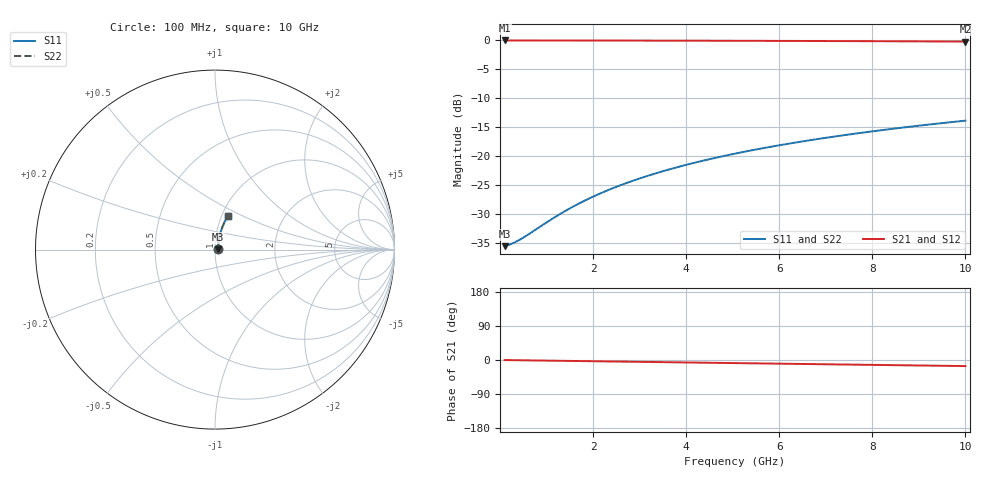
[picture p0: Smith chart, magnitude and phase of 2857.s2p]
# Hz S RI R 50.00
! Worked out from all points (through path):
!   100 points, 100 MHz to 10 GHz, reference 50 ohm
!   highest |S21| = -0.14 dB at 100 MHz (marker M1); lowest = -0.3 dB at 10 GHz (marker M2)
!   group delay of S21, straight-line fit = 4.45 ps
!   lowest |S11| = -35.6 dB at 100 MHz (marker M3), VSWR 1.03, Z = 51.7 + j0.207 ohm
!   |S11| at or under -10 dB: start of sweep to end of sweep
!   |S22| runs from -35.6 to -14.0 dB; largest |S21 - S12| = 0
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1e8  0.0165 0.002  0.9835 -0.00278  0.9835 -0.00278  0.0165 0.002
2e8  0.0167 0.00401  0.9833 -0.00557  0.9833 -0.00557  0.0167 0.00401
3e8  0.0168 0.00601  0.9832 -0.00835  0.9832 -0.00835  0.0168 0.00601
4e8  0.0169 0.00801  0.9831 -0.0111  0.9831 -0.0111  0.0169 0.00801
6e8  0.0171 0.012  0.9829 -0.0167  0.9829 -0.0167  0.0171 0.012
1e9  0.0176 0.02  0.9824 -0.0278  0.9824 -0.0278  0.0176 0.02
1.3e9  0.0181 0.026  0.9819 -0.0361  0.9819 -0.0361  0.0181 0.026
1.5e9  0.0184 0.03  0.9815 -0.0417  0.9815 -0.0417  0.0184 0.03
1.8e9  0.0191 0.0359  0.9808 -0.05  0.9808 -0.05  0.0191 0.0359
2.1e9  0.0198 0.0419  0.9801 -0.0583  0.9801 -0.0583  0.0198 0.0419
2.5e9  0.0209 0.0498  0.9789 -0.0693  0.9789 -0.0693  0.0209 0.0498
2.9e9  0.0222 0.0577  0.9775 -0.0803  0.9775 -0.0803  0.0222 0.0577
3.4e9  0.024 0.0675  0.9756 -0.094  0.9756 -0.094  0.024 0.0675
3.8e9  0.0257 0.0752  0.9738 -0.1049  0.9738 -0.1049  0.0257 0.0752
4.2e9  0.0275 0.083  0.9719 -0.1158  0.9719 -0.1158  0.0275 0.083
4.6e9  0.0295 0.0907  0.9698 -0.1266  0.9698 -0.1266  0.0295 0.0907
5.1e9  0.0323 0.1002  0.9669 -0.14  0.9669 -0.14  0.0323 0.1002
5.9e9  0.0372 0.1152  0.9617 -0.1613  0.9617 -0.1613  0.0372 0.1152
6.7e9  0.0428 0.13  0.9558 -0.1824  0.9558 -0.1824  0.0428 0.13
7.5e9  0.049 0.1444  0.9492 -0.2031  0.9492 -0.2031  0.049 0.1444
8.4e9  0.0567 0.1602  0.9411 -0.226  0.9411 -0.226  0.0567 0.1602
1e10  0.0721 0.1871  0.9247 -0.2655  0.9247 -0.2655  0.0721 0.1871
